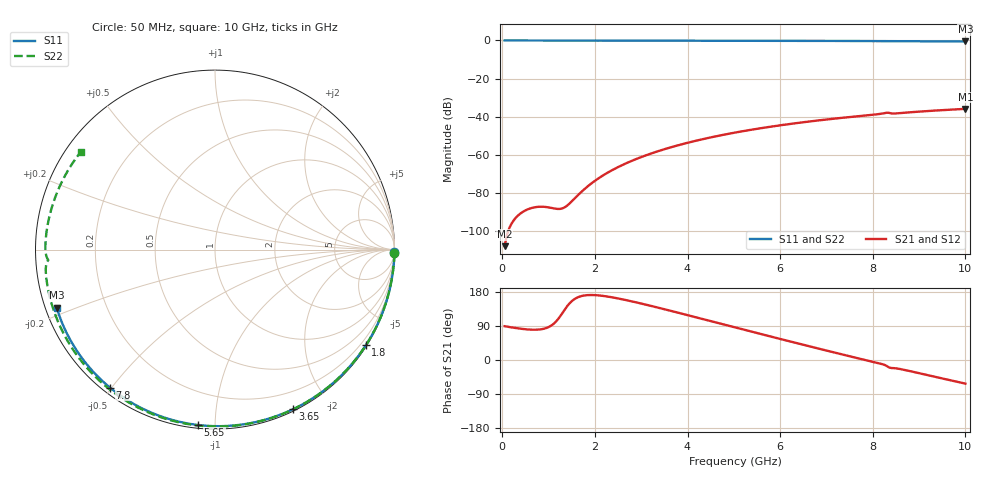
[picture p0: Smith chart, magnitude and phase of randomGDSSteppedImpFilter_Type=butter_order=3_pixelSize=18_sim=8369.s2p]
! freq	dB(S11)	phase(S11)	dB(S12)	phase(S12)
!  dB(S21)	phase(S21)	dB(S22)	phase(S22)
!S-par simulation data
#  GHz  S  DB  R 50
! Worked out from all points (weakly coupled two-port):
!   200 points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, 50 MHz to 10 GHz, reference 50 ohm
!   highest |S21| = -35.91 dB at 10 GHz (marker M1); lowest = -108.0 dB at 50 MHz (marker M2)
!   lowest |S11| = -0.5 dB at 10 GHz (marker M3), VSWR 32.07, Z = 1.61 - j8.9 ohm
!   |S11| at or under -10 dB: nowhere
!   |S22| runs from -0.7 to 0.0 dB; largest |S21 - S12| = 0
!   S11 on the Smith chart (normalised r, x): 50 MHz: open; 1.8 GHz: 0.03, -3.44; 3.65 GHz: 0.02, -1.60; 5.65 GHz: 0.02, -0.91; 7.8 GHz: 0.02, -0.50; 10 GHz: 0.03, -0.18
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0.05  -0.00 -0.9  -107.98 89.2  -107.98 89.2  -0.00 -1.2
0.85  -0.02 -15.5  -87.28 81.3  -87.28 81.3  -0.03 -19.9
1.65  -0.04 -29.8  -80.82 166.4  -80.82 166.4  -0.05 -38.2
1.7  -0.04 -30.6  -79.66 168.4  -79.66 168.4  -0.05 -39.4
1.75  -0.04 -31.5  -78.55 169.8  -78.55 169.8  -0.05 -40.5
1.8  -0.04 -32.4  -77.48 170.8  -77.48 170.8  -0.05 -41.6
2.1  -0.05 -37.7  -72.01 170.2  -72.01 170.2  -0.06 -48.3
2.45  -0.06 -43.7  -67.09 163.6  -67.09 163.6  -0.07 -56.1
2.9  -0.07 -51.4  -62.16 151.8  -62.16 151.8  -0.08 -65.8
3.4  -0.08 -59.8  -57.85 137.1  -57.85 137.1  -0.10 -76.4
3.65  -0.09 -64.0  -56.01 129.4  -56.01 129.4  -0.11 -81.7
4.35  -0.11 -75.3  -51.69 107.4  -51.69 107.4  -0.14 -96.0
5.05  -0.13 -86.3  -48.25 85.3  -48.25 85.3  -0.17 -110.0
5.65  -0.16 -95.5  -45.80 66.5  -45.80 66.5  -0.20 -121.8
6.7  -0.22 -111.2  -42.33 34.0  -42.33 34.0  -0.28 -142.5
7.25  -0.26 -119.2  -40.83 17.3  -40.83 17.3  -0.32 -153.5
7.8  -0.30 -127.2  -39.49 1.0  -39.49 1.0  -0.38 -164.8
8.35  -0.35 -135.2  -38.00 -19.6  -38.00 -19.6  -0.62 -176.4
8.45  -0.36 -136.7  -38.37 -21.4  -38.37 -21.4  -0.53 -178.0
9.15  -0.43 -146.9  -37.11 -38.9  -37.11 -38.9  -0.55 165.6
9.6  -0.49 -153.7  -36.44 -51.4  -36.44 -51.4  -0.61 154.5
10  -0.54 -159.8  -35.91 -62.3  -35.91 -62.3  -0.67 144.0
